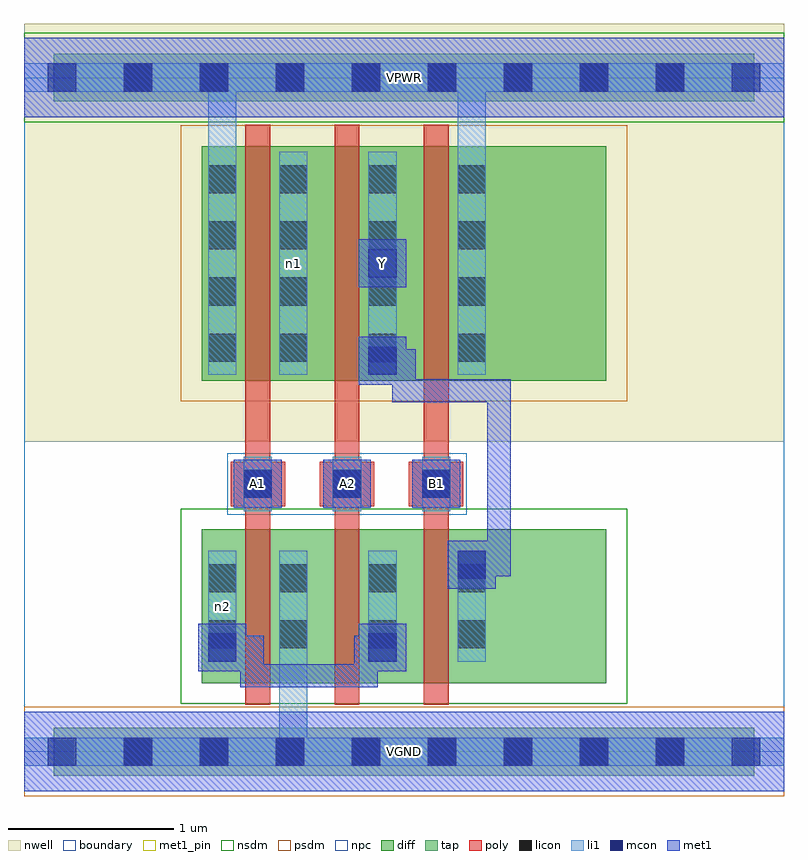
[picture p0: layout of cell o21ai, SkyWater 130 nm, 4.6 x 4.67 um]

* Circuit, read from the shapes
.subckt o21ai A1 A2 B1 VGND VPWR Y n1 n2
XM1 VGND A1 n2 VGND sky130_fd_pr__nfet_01v8 w=0.93 l=0.15
XM2 n2 A2 VGND VGND sky130_fd_pr__nfet_01v8 w=0.93 l=0.15
XM3 Y B1 n2 VGND sky130_fd_pr__nfet_01v8 w=0.93 l=0.15
XM4 n1 A1 VPWR VPWR sky130_fd_pr__pfet_01v8 w=1.42 l=0.15
XM5 Y A2 n1 VPWR sky130_fd_pr__pfet_01v8 w=1.42 l=0.15
XM6 VPWR B1 Y VPWR sky130_fd_pr__pfet_01v8 w=1.42 l=0.15
.ends

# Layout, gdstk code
import gdstk
lib = gdstk.Library(unit=1e-6, precision=1e-09)
def R(c, l, rs):  # rectangles x0, y0, x1, y1
    for r in rs: c.add(gdstk.rectangle(r[:2], r[2:], *l))
def A(c, l, x, y, w, h, nx, ny, dx, dy):  # array of equal rectangles
    R(c, l, [(x+i*dx, y+j*dy, x+i*dx+w, y+j*dy+h) for i in range(nx) for j in range(ny)])
nwell = (64, 20)
diff = (65, 20)
tap = (65, 44)
poly = (66, 20)
licon = (66, 44)
li1 = (67, 20)
mcon = (67, 44)
met1_pin = (68, 16)
met1 = (68, 20)
nsdm = (93, 44)
psdm = (94, 20)
npc = (95, 20)
boundary = (235, 4)

o21ai = lib.new_cell('o21ai')
R(o21ai, nwell, [(0,1.875,4.6,4.405)])
R(o21ai, diff, [(1.075,0.415,3.525,1.345), (1.075,2.245,3.525,3.665)])
R(o21ai, tap, [(0.18,-0.145,4.42,0.145), (0.18,3.935,4.42,4.225)])
A(o21ai, poly, 1.34, 0.285, 0.15, 3.51, 3, 1, 0.54, 0)
A(o21ai, poly, 1.25, 1.485, 0.33, 0.27, 3, 1, 0.54, 0)
A(o21ai, licon, 0.605, -0.085, 0.17, 0.17, 8, 2, 0.46, 4.08)
A(o21ai, licon, 1.545, 0.625, 0.17, 0.17, 3, 2, 0.54, 0.34)
A(o21ai, licon, 1.33, 1.535, 0.17, 0.17, 3, 1, 0.54, 0)
A(o21ai, licon, 1.115, 2.36, 0.17, 0.17, 1, 4, 0, 0.34)
A(o21ai, licon, 1.545, 2.36, 0.17, 0.17, 3, 4, 0.54, 0.34)
R(o21ai, licon, [(1.115,0.625,1.285,0.795), (1.115,0.965,1.285,1.135)])
A(o21ai, li1, 1.545, 0.545, 0.17, 0.67, 3, 1, 0.54, 0)
A(o21ai, li1, 1.33, 1.455, 0.17, 0.33, 3, 1, 0.54, 0)
A(o21ai, li1, 1.545, 2.28, 0.17, 1.35, 3, 1, 0.54, 0)
R(o21ai, li1, [(0,-0.085,4.6,0.085), (1.545,-0.085,1.715,1.215), (1.115,0.545,1.285,1.215), (1.115,2.28,1.285,3.63), (1.115,2.28,1.285,4.165), (2.625,2.28,2.795,4.165), (0,3.995,4.6,4.165)])
A(o21ai, mcon, 0.145, -0.085, 0.17, 0.17, 10, 2, 0.46, 4.08)
A(o21ai, mcon, 1.33, 1.535, 0.17, 0.17, 3, 1, 0.54, 0)
R(o21ai, mcon, [(1.115,0.545,1.285,0.715), (2.085,0.545,2.255,0.715), (2.625,1.045,2.795,1.215), (2.085,2.28,2.255,2.45), (2.085,2.87,2.255,3.04)])
A(o21ai, met1_pin, 1.27, 1.475, 0.29, 0.29, 3, 1, 0.54, 0)
R(o21ai, met1_pin, [(0,-0.24,4.6,0.24), (2.025,2.81,2.315,3.1), (0,3.84,4.6,4.32)])
A(o21ai, met1, 1.27, 1.475, 0.29, 0.29, 3, 1, 0.54, 0)
R(o21ai, met1, [(0,-0.24,4.6,0.24), (1.31,0.39,1.45,0.7), (1.31,0.39,2.14,0.53), (2,0.39,2.14,0.7), (1.055,0.485,1.345,0.775), (2.025,0.485,2.315,0.775), (1.13,0.56,1.45,0.7), (2,0.56,2.24,0.7), (2.565,0.985,2.855,1.275), (2.64,1.06,2.945,1.2), (2.805,1.06,2.945,1.335), (2.805,1.195,2.945,2.255), (2.23,2.115,2.37,2.435), (2.23,2.115,2.945,2.255), (2.025,2.22,2.315,2.51), (2.1,2.295,2.37,2.435), (2.025,2.81,2.315,3.1), (0,3.84,4.6,4.32)])
R(o21ai, nsdm, [(0.95,0.29,3.65,1.47), (0,3.81,4.6,4.35)])
R(o21ai, psdm, [(0,-0.27,4.6,0.27), (0.95,2.12,3.65,3.79)])
R(o21ai, npc, [(1.23,1.435,2.68,1.805)])
R(o21ai, boundary, [(0,0,4.6,4.08)])
o21ai.add(gdstk.Label('n2', (1.2,0.88), layer=67, texttype=5))
o21ai.add(gdstk.Label('n1', (1.63,2.955), layer=67, texttype=5))
o21ai.add(gdstk.Label('A1', (1.415,1.62), layer=68, texttype=5))
o21ai.add(gdstk.Label('A2', (1.955,1.62), layer=68, texttype=5))
o21ai.add(gdstk.Label('B1', (2.495,1.62), layer=68, texttype=5))
o21ai.add(gdstk.Label('Y', (2.17,2.955), layer=68, texttype=5))
o21ai.add(gdstk.Label('VPWR', (2.3,4.08), layer=68, texttype=5))
o21ai.add(gdstk.Label('VGND', (2.3,0), layer=68, texttype=5))
o21ai.add(gdstk.Label('A1', (1.415,1.62), layer=68, texttype=16))
o21ai.add(gdstk.Label('A2', (1.955,1.62), layer=68, texttype=16))
o21ai.add(gdstk.Label('B1', (2.495,1.62), layer=68, texttype=16))
o21ai.add(gdstk.Label('Y', (2.17,2.955), layer=68, texttype=16))
o21ai.add(gdstk.Label('VPWR', (2.3,4.08), layer=68, texttype=16))
o21ai.add(gdstk.Label('VGND', (2.3,0), layer=68, texttype=16))

lib.write_gds('o21ai.gds')
